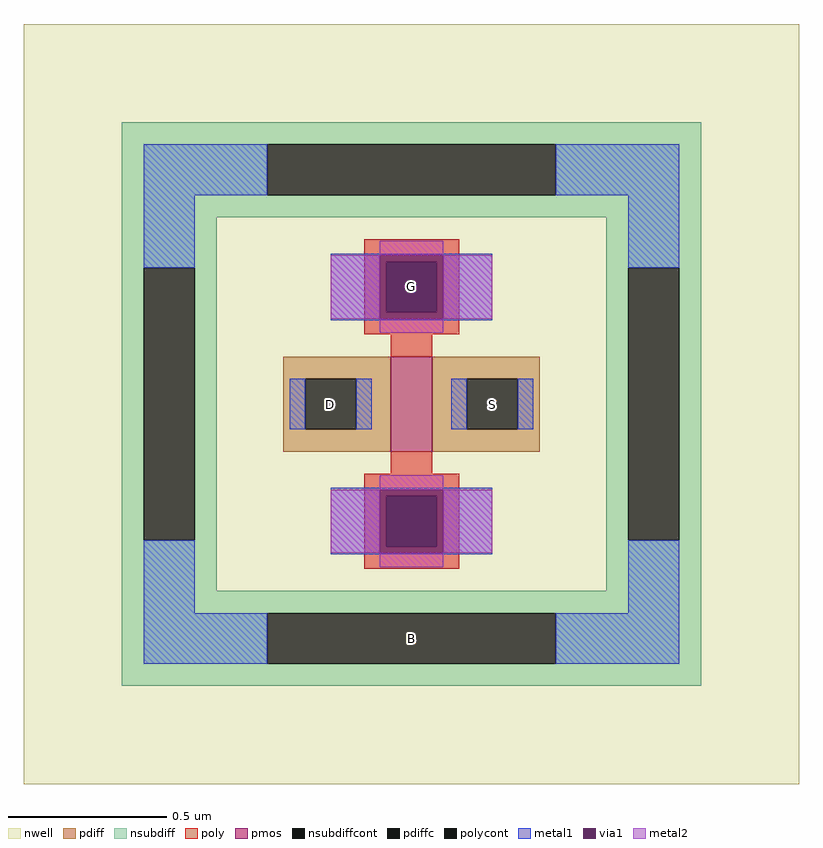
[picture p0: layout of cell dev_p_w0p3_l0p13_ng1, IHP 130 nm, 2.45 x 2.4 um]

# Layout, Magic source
magic
tech ihp-sg13cmos5l
magscale 1 2
<< nwell >>
rect -245 -240 245 240
<< pmos >>
rect -13 -30 13 30
<< pdiff >>
rect -81 16 -13 30
rect -81 -16 -67 16
rect -35 -16 -13 16
rect -81 -30 -13 -16
rect 13 16 81 30
rect 13 -16 35 16
rect 67 -16 81 16
rect 13 -30 81 -16
<< pdiffc >>
rect -67 -16 -35 16
rect 35 -16 67 16
<< nsubdiff >>
rect -183 164 183 178
rect -183 132 -91 164
rect 91 132 183 164
rect -183 118 183 132
rect -183 86 -123 118
rect -183 -86 -169 86
rect -137 -86 -123 86
rect 123 86 183 118
rect -183 -118 -123 -86
rect 123 -86 137 86
rect 169 -86 183 86
rect 123 -118 183 -86
rect -183 -132 183 -118
rect -183 -164 -91 -132
rect 91 -164 183 -132
rect -183 -178 183 -164
<< nsubdiffcont >>
rect -91 132 91 164
rect -169 -86 -137 86
rect 137 -86 169 86
rect -91 -164 91 -132
<< poly >>
rect -30 90 30 104
rect -30 58 -16 90
rect 16 58 30 90
rect -30 44 30 58
rect -13 30 13 44
rect -13 -44 13 -30
rect -30 -58 30 -44
rect -30 -90 -16 -58
rect 16 -90 30 -58
rect -30 -104 30 -90
<< polycont >>
rect -16 58 16 90
rect -16 -90 16 -58
<< metal1 >>
rect -169 132 -91 164
rect 91 132 169 164
rect -169 86 -137 132
rect -51 94 51 95
rect -51 54 -20 94
rect 20 54 51 94
rect -51 53 51 54
rect 137 86 169 132
rect -77 -16 -67 16
rect -35 -16 -25 16
rect 25 -16 35 16
rect 67 -16 77 16
rect -169 -132 -137 -86
rect -51 -54 51 -53
rect -51 -94 -20 -54
rect 20 -94 51 -54
rect -51 -95 51 -94
rect 137 -132 169 -86
rect -169 -164 -91 -132
rect 91 -164 169 -132
<< via1 >>
rect -20 90 20 94
rect -20 58 -16 90
rect -16 58 16 90
rect 16 58 20 90
rect -20 54 20 58
rect -20 -58 20 -54
rect -20 -90 -16 -58
rect -16 -90 16 -58
rect 16 -90 20 -58
rect -20 -94 20 -90
<< metal2 >>
rect -20 94 20 103
rect -51 54 -20 94
rect 20 54 51 94
rect -20 45 20 54
rect -20 -54 20 -45
rect -51 -94 -20 -54
rect 20 -94 51 -54
rect -20 -103 20 -94
<< labels >>
rlabel nsubdiffcont 0 -148 0 -148 0 B
port 1 nsew
rlabel pdiffc -51 0 -51 0 0 D
port 2 nsew
rlabel pdiffc 51 0 51 0 0 S
port 3 nsew
rlabel polycont 0 74 0 74 0 G
port 4 nsew
<< properties >>
string FIXED_BBOX -153 -148 153 148
string gencell sg13_lv_pmos
string library sg13cmos5l
string parameters w 0.3 l 0.13 m 1 ng 1 diffcov 100 polycov 100 guard 1 glc 1 grc 1 gtc 1 gbc 1 tbcov 100 rlcov 100 topc 1 botc 1 poverlap 0 doverlap 1 lmin 0.13 wmin 0.15 class mosfet compatible {sg13_lv_pmos sg13_hv_pmos} full_metal 1 conn_gates 1 gate_ring 0 ccols 1 viasrc 0 viadrn 0 viagate 100 viagb 0 viagr 0 viagl 0 viagt 0 doports 1
<< end >>
